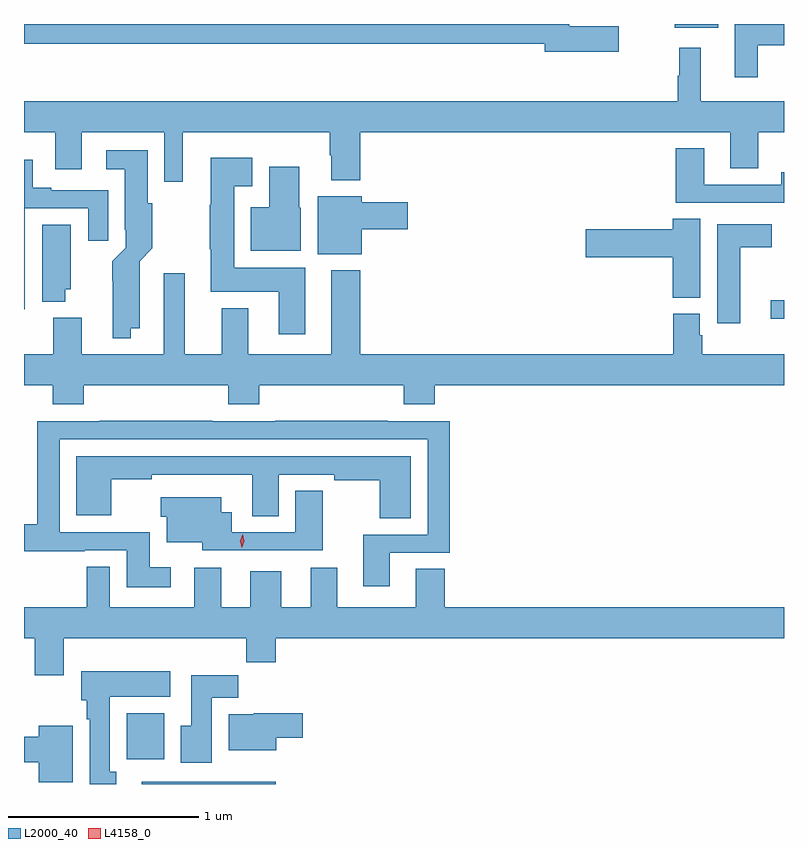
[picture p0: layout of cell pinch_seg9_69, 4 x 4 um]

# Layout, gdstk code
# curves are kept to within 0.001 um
import gdstk
lib = gdstk.Library(unit=1e-6, precision=1e-09)
def R(c, l, rs):  # rectangles x0, y0, x1, y1
    for r in rs: c.add(gdstk.rectangle(r[:2], r[2:], *l))
def P(c, l, *ps):  # polygons
    for p in ps: c.add(gdstk.Polygon(p, *l))
L2000_40 = (2000, 40)
L4158_0 = (4158, 0)

pinch_seg9_69 = lib.new_cell('pinch_seg9_69')
R(pinch_seg9_69, L2000_40, [(1020.062,1191.788,1020.259,1192.03), (1023.453,1194.107,1023.522,1194.204), (1022.948,1195.637,1023.175,1195.658)])
P(pinch_seg9_69, L2000_40, [(1023.385,1195.546),(1023.522,1195.546),(1023.522,1195.658),(1023.263,1195.658),(1023.263,1195.377),(1023.385,1195.377)],
  [(1022.653,1195.646),(1022.392,1195.646),(1022.392,1195.658),(1019.522,1195.658),(1019.522,1195.554),(1022.264,1195.554),(1022.264,1195.511),(1022.653,1195.511)],
  [(1020.358,1195.088),(1021.132,1195.088),(1021.132,1194.968),(1021.139,1194.968),(1021.139,1194.836),(1021.292,1194.836),(1021.292,1195.088),(1023.239,1195.088),(1023.239,1194.898),(1023.387,1194.898),(1023.387,1195.088),(1023.522,1195.088),(1023.522,1195.252),(1023.085,1195.252),(1023.085,1195.534),(1022.971,1195.534),(1022.971,1195.385),(1022.964,1195.385),(1022.964,1195.252),(1019.522,1195.252),(1019.522,1195.088),(1019.687,1195.088),(1019.687,1194.894),(1019.827,1194.894),(1019.827,1195.088),(1020.261,1195.088),(1020.261,1194.828),(1020.358,1194.828)],
  [(1023.522,1194.877),(1023.508,1194.877),(1023.508,1194.813),(1023.103,1194.813),(1023.103,1195.003),(1022.951,1195.003),(1022.951,1194.717),(1023.522,1194.717)],
  [(1020.085,1194.056),(1020.13,1194.056),(1020.131,1194.41),(1020.198,1194.477),(1020.198,1194.714),(1020.172,1194.714),(1020.172,1194.994),(1019.955,1194.994),(1019.955,1194.893),(1020.053,1194.893),(1020.053,1194.574),(1020.057,1194.574),(1020.057,1194.48),(1019.987,1194.41),(1019.988,1194.005),(1020.085,1194.005)],
  [(1021.003,1194.376),(1020.628,1194.376),(1020.628,1194.803),(1020.724,1194.803),(1020.724,1194.955),(1020.506,1194.955),(1020.506,1194.707),(1020.499,1194.707),(1020.499,1194.472),(1020.506,1194.472),(1020.506,1194.248),(1020.863,1194.248),(1020.863,1194.024),(1021.003,1194.024)],
  [(1019.527,1194.687),(1019.861,1194.687),(1019.861,1194.516),(1019.965,1194.516),(1019.965,1194.783),(1019.665,1194.783),(1019.665,1194.796),(1019.569,1194.796),(1019.569,1194.943),(1019.522,1194.943),(1019.522,1194.156),(1019.527,1194.156)],
  [(1020.979,1194.69),(1020.97,1194.69),(1020.97,1194.907),(1020.812,1194.907),(1020.812,1194.694),(1020.716,1194.694),(1020.716,1194.464),(1020.979,1194.464)],
  [(1021.3,1194.578),(1021.543,1194.578),(1021.543,1194.72),(1021.3,1194.72),(1021.3,1194.751),(1021.067,1194.751),(1021.067,1194.446),(1021.3,1194.446)],
  [(1023.082,1194.632),(1022.936,1194.632),(1022.936,1194.578),(1022.478,1194.578),(1022.478,1194.431),(1022.936,1194.431),(1022.936,1194.217),(1023.082,1194.217)],
  [(1023.292,1194.482),(1023.457,1194.482),(1023.457,1194.604),(1023.17,1194.604),(1023.17,1194.084),(1023.292,1194.084)],
  [(1019.74,1194.261),(1019.767,1194.261),(1019.767,1194.602),(1019.618,1194.602),(1019.618,1194.197),(1019.74,1194.197)],
  [(1020.596,1193.657),(1020.761,1193.657),(1020.761,1193.756),(1021.52,1193.756),(1021.52,1193.657),(1021.685,1193.657),(1021.685,1193.756),(1023.522,1193.756),(1023.522,1193.92),(1023.092,1193.92),(1023.092,1194.021),(1023.079,1194.021),(1023.079,1194.132),(1022.939,1194.132),(1022.939,1193.92),(1021.292,1193.92),(1021.292,1194.361),(1021.139,1194.361),(1021.139,1193.92),(1020.703,1193.92),(1020.703,1194.163),(1020.563,1194.163),(1020.563,1193.92),(1020.367,1193.92),(1020.367,1194.346),(1020.257,1194.346),(1020.257,1193.92),(1019.827,1193.92),(1019.827,1194.112),(1019.675,1194.112),(1019.675,1193.92),(1019.522,1193.92),(1019.522,1193.756),(1019.672,1193.756),(1019.672,1193.657),(1019.837,1193.657),(1019.837,1193.756),(1020.596,1193.756)],
  [(1020.295,1192.798),(1020.184,1192.798),(1020.184,1192.983),(1019.709,1192.983),(1019.709,1193.472),(1021.647,1193.472),(1021.647,1192.971),(1021.307,1192.971),(1021.307,1192.698),(1021.447,1192.698),(1021.447,1192.875),(1021.763,1192.875),(1021.763,1193.568),(1021.436,1193.568),(1021.436,1193.57),(1020.844,1193.57),(1020.844,1193.568),(1020.512,1193.568),(1020.512,1193.57),(1019.92,1193.57),(1019.92,1193.568),(1019.593,1193.568),(1019.593,1193.024),(1019.522,1193.024),(1019.522,1192.882),(1019.841,1192.882),(1019.841,1192.887),(1020.062,1192.887),(1020.062,1192.694),(1020.295,1192.694)],
  [(1021.558,1193.383),(1021.255,1193.383),(1021.255,1193.382),(1020.095,1193.382),(1020.095,1193.383),(1019.798,1193.383),(1019.798,1193.072),(1019.98,1193.072),(1019.98,1193.261),(1020.195,1193.261),(1020.195,1193.286),(1020.722,1193.286),(1020.722,1193.068),(1020.862,1193.068),(1020.862,1193.286),(1021.155,1193.286),(1021.155,1193.256),(1021.394,1193.256),(1021.394,1193.056),(1021.558,1193.056)],
  [(1021.095,1193.201),(1020.95,1193.201),(1020.95,1192.983),(1020.616,1192.983),(1020.616,1193.089),(1020.559,1193.089),(1020.559,1193.167),(1020.242,1193.167),(1020.242,1193.065),(1020.272,1193.065),(1020.272,1192.931),(1020.461,1192.931),(1020.461,1192.887),(1021.095,1192.887)],
  [(1019.731,1192.424),(1020.691,1192.424),(1020.691,1192.3),(1020.848,1192.3),(1020.848,1192.424),(1023.522,1192.424),(1023.522,1192.588),(1021.736,1192.588),(1021.736,1192.79),(1021.583,1192.79),(1021.583,1192.588),(1021.171,1192.588),(1021.171,1192.795),(1021.031,1192.795),(1021.031,1192.588),(1020.877,1192.588),(1020.877,1192.777),(1020.713,1192.777),(1020.713,1192.588),(1020.559,1192.588),(1020.559,1192.795),(1020.419,1192.795),(1020.419,1192.588),(1019.974,1192.588),(1019.974,1192.802),(1019.853,1192.802),(1019.853,1192.588),(1019.522,1192.588),(1019.522,1192.424),(1019.579,1192.424),(1019.579,1192.23),(1019.731,1192.23)],
  [(1020.007,1191.722),(1019.974,1191.722),(1019.974,1192.118),(1020.292,1192.118),(1020.292,1192.252),(1019.822,1192.252),(1019.822,1192.098),(1019.852,1192.098),(1019.852,1191.998),(1019.867,1191.998),(1019.867,1191.658),(1020.007,1191.658)],
  [(1020.511,1192.112),(1020.65,1192.112),(1020.65,1192.231),(1020.401,1192.231),(1020.401,1191.964),(1020.347,1191.964),(1020.347,1191.771),(1020.511,1191.771)],
  [(1020.85,1191.902),(1020.988,1191.902),(1020.988,1192.03),(1020.732,1192.03),(1020.732,1192.024),(1020.599,1192.024),(1020.599,1191.836),(1020.85,1191.836)],
  [(1019.779,1191.964),(1019.6,1191.964),(1019.6,1191.908),(1019.522,1191.908),(1019.522,1191.772),(1019.6,1191.772),(1019.6,1191.668),(1019.779,1191.668)],
  [(1020.848,1191.67),(1020.603,1191.67),(1020.603,1191.669),(1020.143,1191.669),(1020.143,1191.658),(1020.848,1191.658)])
P(pinch_seg9_69, L4158_0, [(1020.668,1192.901),(1020.661,1192.938),(1020.674,1192.973),(1020.674,1192.973),(1020.674,1192.973),(1020.681,1192.936),(1020.669,1192.901),(1020.669,1192.901)])

lib.write_gds('pinch_seg9_69.gds')
